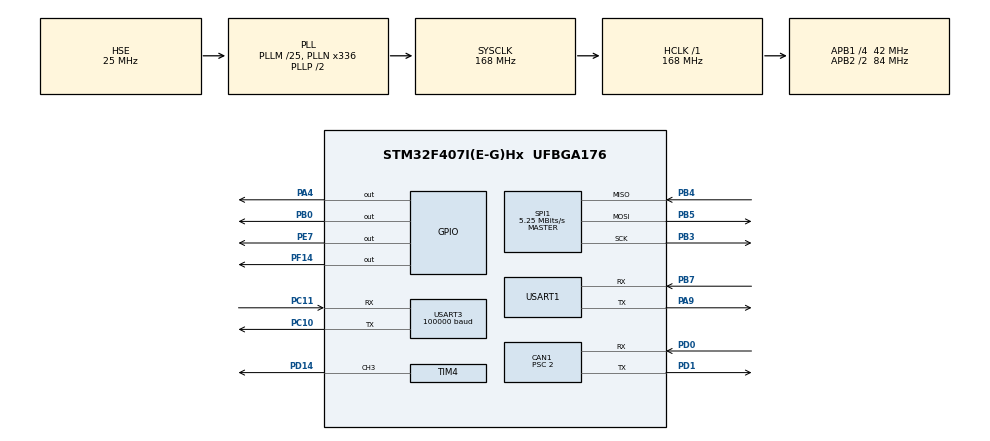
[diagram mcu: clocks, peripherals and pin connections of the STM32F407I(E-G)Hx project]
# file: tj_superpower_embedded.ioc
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CAN1.BS1=CAN_BS1_16TQ
CAN1.BS2=CAN_BS2_4TQ
CAN1.CalculateBaudRate=1000000
CAN1.CalculateTimeBit=1000
CAN1.CalculateTimeQuantum=47.61904761904762
CAN1.Prescaler=2
Dma.Request0=USART3_RX
Dma.USART3_RX.0.Direction=DMA_PERIPH_TO_MEMORY
Dma.USART3_RX.0.FIFOMode=DMA_FIFOMODE_DISABLE
Dma.USART3_RX.0.Instance=DMA1_Stream1
Dma.USART3_RX.0.MemDataAlignment=DMA_MDATAALIGN_BYTE
Dma.USART3_RX.0.MemInc=DMA_MINC_ENABLE
Dma.USART3_RX.0.Mode=DMA_CIRCULAR
Dma.USART3_RX.0.PeriphDataAlignment=DMA_PDATAALIGN_BYTE
Dma.USART3_RX.0.PeriphInc=DMA_PINC_DISABLE
Dma.USART3_RX.0.Priority=DMA_PRIORITY_VERY_HIGH
Mcu.Family=STM32F4
Mcu.Name=STM32F407I(E-G)Hx
Mcu.Package=UFBGA176
NVIC.DMA1_Stream1_IRQn=true\:0\:0\:false\:false\:true\:false\:true\:true
NVIC.PriorityGroup=NVIC_PRIORITYGROUP_4
NVIC.USART3_IRQn=true\:0\:0\:false\:false\:true\:true\:true\:true
PA13.Mode=Serial_Wire
PA13.Signal=SYS_JTMS-SWDIO
PA14.Mode=Serial_Wire
PA14.Signal=SYS_JTCK-SWCLK
PA4.GPIO_Speed=GPIO_SPEED_FREQ_HIGH
PA4.PinState=GPIO_PIN_SET
PA4.Signal=GPIO_Output
PA9.Mode=Asynchronous
PA9.Signal=USART1_TX
PB0.GPIO_Speed=GPIO_SPEED_FREQ_HIGH
PB0.PinState=GPIO_PIN_SET
PB0.Signal=GPIO_Output
PB3.Mode=Full_Duplex_Master
PB3.Signal=SPI1_SCK
PB4.Mode=Full_Duplex_Master
PB4.Signal=SPI1_MISO
PB5.Mode=Full_Duplex_Master
PB5.Signal=SPI1_MOSI
PB7.Mode=Asynchronous
PB7.Signal=USART1_RX
PC10.Mode=Asynchronous
PC10.Signal=USART3_TX
PC11.Mode=Asynchronous
PC11.Signal=USART3_RX
PD0.Mode=CAN_Activate
PD0.Signal=CAN1_RX
PD1.Mode=CAN_Activate
PD1.Signal=CAN1_TX
PD14.Signal=S_TIM4_CH3
PE7.GPIO_Speed=GPIO_SPEED_FREQ_HIGH
PE7.PinState=GPIO_PIN_SET
PE7.Signal=GPIO_Output
PF14.GPIO_Speed=GPIO_SPEED_FREQ_HIGH
PF14.PinState=GPIO_PIN_SET
PF14.Signal=GPIO_Output
PH0-OSC_IN.Mode=HSE-External-Oscillator
PH0-OSC_IN.Signal=RCC_OSC_IN
PH1-OSC_OUT.Mode=HSE-External-Oscillator
PH1-OSC_OUT.Signal=RCC_OSC_OUT
ProjectManager.HeapSize=0x200
ProjectManager.StackSize=0x400
ProjectManager.TargetToolchain=MDK-ARM V5.32
RCC.48MHZClocksFreq_Value=84000000
RCC.AHBFreq_Value=168000000
RCC.APB1CLKDivider=RCC_HCLK_DIV4
RCC.APB1Freq_Value=42000000
RCC.APB1TimFreq_Value=84000000
RCC.APB2CLKDivider=RCC_HCLK_DIV2
RCC.APB2Freq_Value=84000000
RCC.APB2TimFreq_Value=168000000
RCC.CortexFreq_Value=168000000
RCC.HCLKFreq_Value=168000000
RCC.HSE_VALUE=25000000
RCC.HSI_VALUE=16000000
RCC.LSE_VALUE=32768
RCC.PLLM=25
RCC.PLLN=336
RCC.PLLSourceVirtual=RCC_PLLSOURCE_HSE
RCC.SYSCLKFreq_VALUE=168000000
RCC.SYSCLKSource=RCC_SYSCLKSOURCE_PLLCLK
RCC.VCOOutputFreq_Value=336000000
SH.S_TIM4_CH3.0=TIM4_CH3,PWM Generation3 CH3
SPI1.BaudRatePrescaler=SPI_BAUDRATEPRESCALER_16
SPI1.CalculateBaudRate=5.25 MBits/s
SPI1.Direction=SPI_DIRECTION_2LINES
SPI1.Mode=SPI_MODE_MASTER
SPI1.VirtualType=VM_MASTER
TIM4.Channel-PWM\ Generation3\ CH3=TIM_CHANNEL_3
TIM4.Period=249
TIM4.Prescaler=83
USART1.VirtualMode=VM_ASYNC
USART3.BaudRate=100000
USART3.Mode=MODE_RX
USART3.Parity=PARITY_EVEN
USART3.VirtualMode=VM_ASYNC
board=custom

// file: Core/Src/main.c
/* USER CODE BEGIN Header */
/**
  ******************************************************************************
  * @file           : main.c
  * @brief          : Main program body
  ******************************************************************************
  * @attention
  *
  * Copyright (c) 2026 STMicroelectronics.
  * All rights reserved.
  *
  * This software is licensed under terms that can be found in the LICENSE file
  * in the root directory of this software component.
  * If no LICENSE file comes with this software, it is provided AS-IS.
  *
  ******************************************************************************
  */
/* USER CODE END Header */
#include "main.h"

/* USER CODE BEGIN Includes */
#include "bmi088.h"
#include <stdio.h>
/* USER CODE END Includes */

CAN_HandleTypeDef hcan1;

SPI_HandleTypeDef hspi1;

TIM_HandleTypeDef htim4;

UART_HandleTypeDef huart1;
UART_HandleTypeDef huart3;

/* USER CODE BEGIN PV */
Bmi088Data bmi088_data;
uint8_t dt7_rx_buffer[18];
Dt7Data dt7_data;
/* USER CODE END PV */

void SystemClock_Config(void);
static void MX_GPIO_Init(void);
static void MX_CAN1_Init(void);
static void MX_SPI1_Init(void);
static void MX_TIM4_Init(void);
static void MX_USART3_UART_Init(void);
static void MX_USART1_UART_Init(void);
/* USER CODE BEGIN PFP */
void bmi088_print_data(void);
void dt7_parse_data(void);
/* USER CODE END PFP */

/* USER CODE BEGIN 0 */

void CAN1_Send(uint32_t id, uint8_t *data, uint8_t len)
{
    CAN_TxHeaderTypeDef tx_header;
    uint32_t tx_mailbox;

    tx_header.StdId = id;
    tx_header.ExtId = 0;
    tx_header.IDE = CAN_ID_STD;
    tx_header.RTR = CAN_RTR_DATA;
    tx_header.DLC = len;
    tx_header.TransmitGlobalTime = DISABLE;

    if (HAL_CAN_AddTxMessage(&hcan1, &tx_header, data, &tx_mailbox) != HAL_OK)
    {
        Error_Handler();
    }
}

void CAN1_StartReceive(void)
{
    if (HAL_CAN_ActivateNotification(&hcan1, CAN_IT_RX_FIFO0_MSG_PENDING) != HAL_OK)
    {
        Error_Handler();
    }
}

/* USER CODE END 0 */

int main(void)
{

  /* MCU Configuration--------------------------------------------------------*/

  /* Reset of all peripherals, Initializes the Flash interface and the Systick. */
  HAL_Init();

  /* Configure the system clock */
  SystemClock_Config();

  /* Initialize all configured peripherals */
  MX_GPIO_Init();
  MX_CAN1_Init();
  MX_SPI1_Init();
  MX_TIM4_Init();
  MX_USART3_UART_Init();
  MX_USART1_UART_Init();
  /* USER CODE BEGIN 2 */
HAL_TIM_PWM_Start(&htim4, TIM_CHANNEL_3);

__HAL_TIM_SET_COMPARE(&htim4, TIM_CHANNEL_3, 125);
HAL_Delay(200);
__HAL_TIM_SET_COMPARE(&htim4, TIM_CHANNEL_3, 0);

if (bmi088_init() != HAL_OK)
{
    Error_Handler();
}
HAL_UART_Receive_DMA(&huart3, dt7_rx_buffer, 18);
CAN1_StartReceive();
  /* USER CODE END 2 */

  /* Infinite loop */
  /* USER CODE BEGIN WHILE */
 while (1)
{
  dt7_parse_data();

  bmi088_read_data(&bmi088_data);
bmi088_print_data();
HAL_Delay(100);

    /* USER CODE END WHILE */

    /* USER CODE BEGIN 3 */
 HAL_GPIO_WritePin(GPIOF, GPIO_PIN_14, GPIO_PIN_SET);
HAL_GPIO_WritePin(GPIOE, GPIO_PIN_7, GPIO_PIN_RESET);
HAL_Delay(500);

HAL_GPIO_WritePin(GPIOF, GPIO_PIN_14, GPIO_PIN_RESET);
HAL_GPIO_WritePin(GPIOE, GPIO_PIN_7, GPIO_PIN_SET);
HAL_Delay(500);
  /* USER CODE END 3 */
}
}

void SystemClock_Config(void)
{
  RCC_OscInitTypeDef RCC_OscInitStruct = {0};
  RCC_ClkInitTypeDef RCC_ClkInitStruct = {0};

  /** Configure the main internal regulator output voltage
  */
  __HAL_RCC_PWR_CLK_ENABLE();
  __HAL_PWR_VOLTAGESCALING_CONFIG(PWR_REGULATOR_VOLTAGE_SCALE1);

  /** Initializes the RCC Oscillators according to the specified parameters
  * in the RCC_OscInitTypeDef structure.
  */
  RCC_OscInitStruct.OscillatorType = RCC_OSCILLATORTYPE_HSE;
  RCC_OscInitStruct.HSEState = RCC_HSE_ON;
  RCC_OscInitStruct.PLL.PLLState = RCC_PLL_ON;
  RCC_OscInitStruct.PLL.PLLSource = RCC_PLLSOURCE_HSE;
  RCC_OscInitStruct.PLL.PLLM = 25;
  RCC_OscInitStruct.PLL.PLLN = 336;
  RCC_OscInitStruct.PLL.PLLP = RCC_PLLP_DIV2;
  RCC_OscInitStruct.PLL.PLLQ = 4;
  if (HAL_RCC_OscConfig(&RCC_OscInitStruct) != HAL_OK)
  {
    Error_Handler();
  }

  /** Initializes the CPU, AHB and APB buses clocks
  */
  RCC_ClkInitStruct.ClockType = RCC_CLOCKTYPE_HCLK|RCC_CLOCKTYPE_SYSCLK
                              |RCC_CLOCKTYPE_PCLK1|RCC_CLOCKTYPE_PCLK2;
  RCC_ClkInitStruct.SYSCLKSource = RCC_SYSCLKSOURCE_PLLCLK;
  RCC_ClkInitStruct.AHBCLKDivider = RCC_SYSCLK_DIV1;
  RCC_ClkInitStruct.APB1CLKDivider = RCC_HCLK_DIV4;
  RCC_ClkInitStruct.APB2CLKDivider = RCC_HCLK_DIV2;

  if (HAL_RCC_ClockConfig(&RCC_ClkInitStruct, FLASH_LATENCY_5) != HAL_OK)
  {
    Error_Handler();
  }
}

static void MX_CAN1_Init(void)
{

  hcan1.Instance = CAN1;
  hcan1.Init.Prescaler = 2;
  hcan1.Init.Mode = CAN_MODE_NORMAL;
  hcan1.Init.SyncJumpWidth = CAN_SJW_1TQ;
  hcan1.Init.TimeSeg1 = CAN_BS1_16TQ;
  hcan1.Init.TimeSeg2 = CAN_BS2_4TQ;
  hcan1.Init.TimeTriggeredMode = DISABLE;
  hcan1.Init.AutoBusOff = DISABLE;
  hcan1.Init.AutoWakeUp = DISABLE;
  hcan1.Init.AutoRetransmission = DISABLE;
  hcan1.Init.ReceiveFifoLocked = DISABLE;
  hcan1.Init.TransmitFifoPriority = DISABLE;
  if (HAL_CAN_Init(&hcan1) != HAL_OK)
  {
    Error_Handler();
  }
  /* USER CODE BEGIN CAN1_Init 2 */

  CAN_FilterTypeDef can_filter;

can_filter.FilterBank = 0;
can_filter.FilterMode = CAN_FILTERMODE_IDMASK;
can_filter.FilterScale = CAN_FILTERSCALE_32BIT;
can_filter.FilterIdHigh = 0x0000;
can_filter.FilterIdLow = 0x0000;
can_filter.FilterMaskIdHigh = 0x0000;
can_filter.FilterMaskIdLow = 0x0000;
can_filter.FilterFIFOAssignment = CAN_FILTER_FIFO0;
can_filter.FilterActivation = ENABLE;

if (HAL_CAN_ConfigFilter(&hcan1, &can_filter) != HAL_OK)
{
    Error_Handler();
}

if (HAL_CAN_Start(&hcan1) != HAL_OK)
{
    Error_Handler();
}

  /* USER CODE END CAN1_Init 2 */

}

static void MX_SPI1_Init(void)
{

  /* SPI1 parameter configuration*/
  hspi1.Instance = SPI1;
  hspi1.Init.Mode = SPI_MODE_MASTER;
  hspi1.Init.Direction = SPI_DIRECTION_2LINES;
  hspi1.Init.DataSize = SPI_DATASIZE_8BIT;
  hspi1.Init.CLKPolarity = SPI_POLARITY_LOW;
  hspi1.Init.CLKPhase = SPI_PHASE_1EDGE;
  hspi1.Init.NSS = SPI_NSS_SOFT;
  hspi1.Init.BaudRatePrescaler = SPI_BAUDRATEPRESCALER_2;
  hspi1.Init.FirstBit = SPI_FIRSTBIT_MSB;
  hspi1.Init.TIMode = SPI_TIMODE_DISABLE;
  hspi1.Init.CRCCalculation = SPI_CRCCALCULATION_DISABLE;
  hspi1.Init.CRCPolynomial = 10;
  if (HAL_SPI_Init(&hspi1) != HAL_OK)
  {
    Error_Handler();
  }

}

static void MX_TIM4_Init(void)
{

  TIM_MasterConfigTypeDef sMasterConfig = {0};
  TIM_OC_InitTypeDef sConfigOC = {0};

  htim4.Instance = TIM4;
  htim4.Init.Prescaler = 83;
  htim4.Init.CounterMode = TIM_COUNTERMODE_UP;
  htim4.Init.Period = 249;
  htim4.Init.ClockDivision = TIM_CLOCKDIVISION_DIV1;
  htim4.Init.AutoReloadPreload = TIM_AUTORELOAD_PRELOAD_DISABLE;
  if (HAL_TIM_PWM_Init(&htim4) != HAL_OK)
  {
    Error_Handler();
  }
  sMasterConfig.MasterOutputTrigger = TIM_TRGO_RESET;
  sMasterConfig.MasterSlaveMode = TIM_MASTERSLAVEMODE_DISABLE;
  if (HAL_TIMEx_MasterConfigSynchronization(&htim4, &sMasterConfig) != HAL_OK)
  {
    Error_Handler();
  }
  sConfigOC.OCMode = TIM_OCMODE_PWM1;
  sConfigOC.Pulse = 125;
  sConfigOC.OCPolarity = TIM_OCPOLARITY_HIGH;
  sConfigOC.OCFastMode = TIM_OCFAST_DISABLE;
  if (HAL_TIM_PWM_ConfigChannel(&htim4, &sConfigOC, TIM_CHANNEL_3) != HAL_OK)
  {
    Error_Handler();
  }
  HAL_TIM_MspPostInit(&htim4);

}

static void MX_USART1_UART_Init(void)
{

  huart1.Instance = USART1;
  huart1.Init.BaudRate = 115200;
  huart1.Init.WordLength = UART_WORDLENGTH_8B;
  huart1.Init.StopBits = UART_STOPBITS_1;
  huart1.Init.Parity = UART_PARITY_NONE;
  huart1.Init.Mode = UART_MODE_TX_RX;
  huart1.Init.HwFlowCtl = UART_HWCONTROL_NONE;
  huart1.Init.OverSampling = UART_OVERSAMPLING_16;
  if (HAL_UART_Init(&huart1) != HAL_OK)
  {
    Error_Handler();
  }

}

static void MX_USART3_UART_Init(void)
{

  huart3.Instance = USART3;
  huart3.Init.BaudRate = 100000;
  huart3.Init.WordLength = UART_WORDLENGTH_8B;
  huart3.Init.StopBits = UART_STOPBITS_1;
  huart3.Init.Parity = UART_PARITY_EVEN;
  huart3.Init.Mode = UART_MODE_RX;
  huart3.Init.HwFlowCtl = UART_HWCONTROL_NONE;
  huart3.Init.OverSampling = UART_OVERSAMPLING_16;
  if (HAL_UART_Init(&huart3) != HAL_OK)
  {
    Error_Handler();
  }

}

static void MX_GPIO_Init(void)
{
  GPIO_InitTypeDef GPIO_InitStruct = {0};

  /* GPIO Ports Clock Enable */
  __HAL_RCC_GPIOB_CLK_ENABLE();
  __HAL_RCC_GPIOA_CLK_ENABLE();
  __HAL_RCC_GPIOD_CLK_ENABLE();
  __HAL_RCC_GPIOC_CLK_ENABLE();
  __HAL_RCC_GPIOH_CLK_ENABLE();
  __HAL_RCC_GPIOF_CLK_ENABLE();
  __HAL_RCC_GPIOE_CLK_ENABLE();

  /*Configure GPIO pin Output Level */
  HAL_GPIO_WritePin(GPIOA, GPIO_PIN_4, GPIO_PIN_SET);

  /*Configure GPIO pin Output Level */
  HAL_GPIO_WritePin(GPIOB, GPIO_PIN_0, GPIO_PIN_SET);

  /*Configure GPIO pin Output Level */
  HAL_GPIO_WritePin(GPIOF, GPIO_PIN_14, GPIO_PIN_SET);

  /*Configure GPIO pin Output Level */
  HAL_GPIO_WritePin(GPIOE, GPIO_PIN_7, GPIO_PIN_SET);

  /*Configure GPIO pin : PA4 */
  GPIO_InitStruct.Pin = GPIO_PIN_4;
  GPIO_InitStruct.Mode = GPIO_MODE_OUTPUT_PP;
  GPIO_InitStruct.Pull = GPIO_NOPULL;
  GPIO_InitStruct.Speed = GPIO_SPEED_FREQ_HIGH;
  HAL_GPIO_Init(GPIOA, &GPIO_InitStruct);

  /*Configure GPIO pin : PB0 */
  GPIO_InitStruct.Pin = GPIO_PIN_0;
  GPIO_InitStruct.Mode = GPIO_MODE_OUTPUT_PP;
  GPIO_InitStruct.Pull = GPIO_NOPULL;
  GPIO_InitStruct.Speed = GPIO_SPEED_FREQ_HIGH;
  HAL_GPIO_Init(GPIOB, &GPIO_InitStruct);

  /*Configure GPIO pin : PF14 */
  GPIO_InitStruct.Pin = GPIO_PIN_14;
  GPIO_InitStruct.Mode = GPIO_MODE_OUTPUT_PP;
  GPIO_InitStruct.Pull = GPIO_NOPULL;
  GPIO_InitStruct.Speed = GPIO_SPEED_FREQ_HIGH;
  HAL_GPIO_Init(GPIOF, &GPIO_InitStruct);

  /*Configure GPIO pin : PE7 */
  GPIO_InitStruct.Pin = GPIO_PIN_7;
  GPIO_InitStruct.Mode = GPIO_MODE_OUTPUT_PP;
  GPIO_InitStruct.Pull = GPIO_NOPULL;
  GPIO_InitStruct.Speed = GPIO_SPEED_FREQ_HIGH;
  HAL_GPIO_Init(GPIOE, &GPIO_InitStruct);

}

/* USER CODE BEGIN 4 */
void bmi088_print_data(void)
{
  char buffer[128];

  int length = snprintf(
      buffer,
      sizeof(buffer),
      "ACC: %d %d %d | GYRO: %d %d %d\r\n",
      bmi088_data.acceleration_x,
      bmi088_data.acceleration_y,
      bmi088_data.acceleration_z,
      bmi088_data.angular_velocity_x,
      bmi088_data.angular_velocity_y,
      bmi088_data.angular_velocity_z);

  HAL_UART_Transmit(&huart1, (uint8_t *)buffer, length, 100);
}

void dt7_parse_data(void)
{
  dt7_data.channel_1 =
      ((dt7_rx_buffer[1] | dt7_rx_buffer[2] << 8) & 0x07FF) - 1024;

  dt7_data.channel_2 =
      (((dt7_rx_buffer[2] >> 3) | dt7_rx_buffer[3] << 5) & 0x07FF) - 1024;

  dt7_data.channel_3 =
      (((dt7_rx_buffer[3] >> 6) |
        (dt7_rx_buffer[4] << 2) |
        (dt7_rx_buffer[5] << 10)) & 0x07FF) - 1024;

  dt7_data.channel_4 =
      (((dt7_rx_buffer[5] >> 1) |
        (dt7_rx_buffer[6] << 7)) & 0x07FF) - 1024;

  dt7_data.channel_5 =
      ((dt7_rx_buffer[7] | dt7_rx_buffer[8] << 8) & 0x07FF) - 1024;

  dt7_data.channel_6 =
      (((dt7_rx_buffer[8] >> 3) | dt7_rx_buffer[9] << 5) & 0x07FF) - 1024;

  dt7_data.channel_7 =
      (((dt7_rx_buffer[9] >> 6) |
        (dt7_rx_buffer[10] << 2) |
        (dt7_rx_buffer[11] << 10)) & 0x07FF) - 1024;

  dt7_data.channel_8 =
      (((dt7_rx_buffer[11] >> 1) |
        (dt7_rx_buffer[12] << 7)) & 0x07FF) - 1024;
}
/* USER CODE END 4 */

void Error_Handler(void)
{
  __disable_irq();
  while (1)
  {
  }
}
